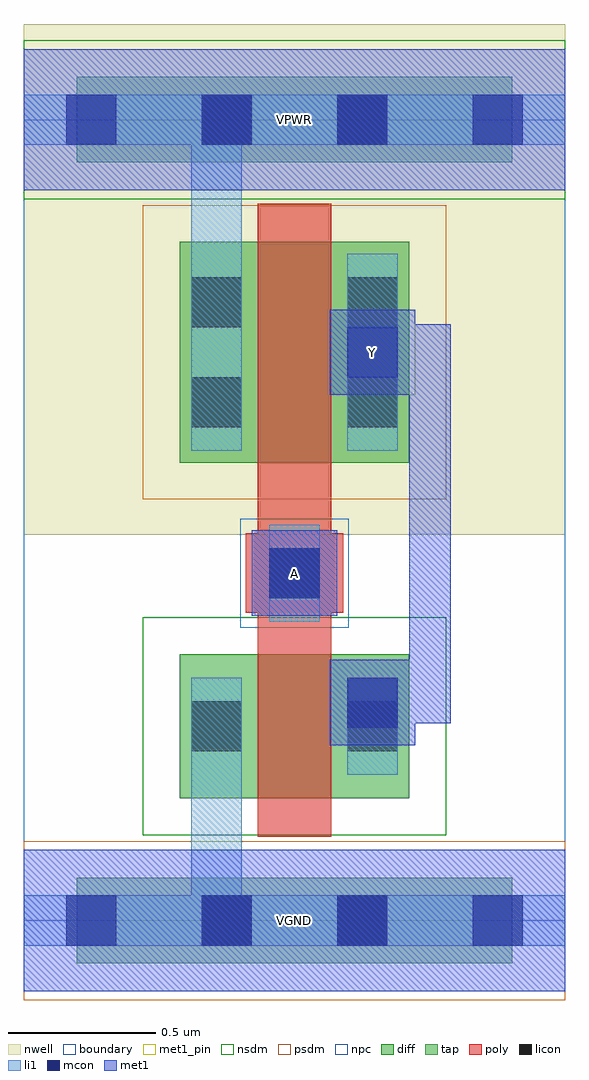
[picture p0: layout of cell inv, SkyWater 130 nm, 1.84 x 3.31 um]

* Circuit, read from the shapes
.subckt inv A VGND VPWR Y
XM1 Y A VGND VGND sky130_fd_pr__nfet_01v8 w=0.49 l=0.25
XM2 Y A VPWR VPWR sky130_fd_pr__pfet_01v8 w=0.75 l=0.25
.ends

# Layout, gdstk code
import gdstk
lib = gdstk.Library(unit=1e-6, precision=1e-09)
def R(c, l, rs):  # rectangles x0, y0, x1, y1
    for r in rs: c.add(gdstk.rectangle(r[:2], r[2:], *l))
def A(c, l, x, y, w, h, nx, ny, dx, dy):  # array of equal rectangles
    R(c, l, [(x+i*dx, y+j*dy, x+i*dx+w, y+j*dy+h) for i in range(nx) for j in range(ny)])
nwell = (64, 20)
diff = (65, 20)
tap = (65, 44)
poly = (66, 20)
licon = (66, 44)
li1 = (67, 20)
mcon = (67, 44)
met1_pin = (68, 16)
met1 = (68, 20)
nsdm = (93, 44)
psdm = (94, 20)
npc = (95, 20)
boundary = (235, 4)

inv = lib.new_cell('inv')
R(inv, nwell, [(0,1.31,1.84,3.045)])
R(inv, diff, [(0.53,0.415,1.31,0.905), (0.53,1.555,1.31,2.305)])
R(inv, tap, [(0.18,-0.145,1.66,0.145), (0.18,2.575,1.66,2.865)])
R(inv, poly, [(0.795,0.285,1.045,2.435), (0.755,1.045,1.085,1.315)])
R(inv, licon, [(0.605,-0.085,0.775,0.085), (1.065,-0.085,1.235,0.085), (0.57,0.575,0.74,0.745), (1.1,0.575,1.27,0.745), (0.835,1.095,1.005,1.265), (0.57,1.675,0.74,1.845), (1.1,1.675,1.27,1.845), (0.57,2.015,0.74,2.185), (1.1,2.015,1.27,2.185), (0.605,2.635,0.775,2.805), (1.065,2.635,1.235,2.805)])
R(inv, li1, [(0,-0.085,1.84,0.085), (0.57,-0.085,0.74,0.825), (0.57,0.495,0.74,0.825), (1.1,0.495,1.27,0.825), (0.835,1.015,1.005,1.345), (0.57,1.595,0.74,2.265), (0.57,1.595,0.74,2.805), (1.1,1.595,1.27,2.265), (0,2.635,1.84,2.805)])
A(inv, mcon, 0.145, -0.085, 0.17, 0.17, 4, 2, 0.46, 2.72)
R(inv, mcon, [(1.1,0.655,1.27,0.825), (0.835,1.095,1.005,1.265), (1.1,1.845,1.27,2.015)])
R(inv, met1_pin, [(0,-0.24,1.84,0.24), (0.775,1.035,1.065,1.325), (1.04,1.785,1.33,2.075), (0,2.48,1.84,2.96)])
R(inv, met1, [(0,-0.24,1.84,0.24), (1.04,0.595,1.33,0.885), (1.115,0.67,1.45,0.81), (1.31,0.67,1.45,0.99), (1.31,0.85,1.45,2.025), (0.775,1.035,1.065,1.325), (1.04,1.785,1.33,2.075), (1.08,1.885,1.22,2.025), (1.08,1.885,1.45,2.025), (0,2.48,1.84,2.96)])
R(inv, nsdm, [(0.405,0.29,1.435,1.03), (0,2.45,1.84,2.99)])
R(inv, psdm, [(0,-0.27,1.84,0.27), (0.405,1.43,1.435,2.43)])
R(inv, npc, [(0.735,0.995,1.105,1.365)])
R(inv, boundary, [(0,0,1.84,2.72)])
inv.add(gdstk.Label('A', (0.92,1.18), layer=68, texttype=5))
inv.add(gdstk.Label('Y', (1.185,1.93), layer=68, texttype=5))
inv.add(gdstk.Label('VPWR', (0.92,2.72), layer=68, texttype=5))
inv.add(gdstk.Label('VGND', (0.92,0), layer=68, texttype=5))
inv.add(gdstk.Label('A', (0.92,1.18), layer=68, texttype=16))
inv.add(gdstk.Label('Y', (1.185,1.93), layer=68, texttype=16))
inv.add(gdstk.Label('VPWR', (0.92,2.72), layer=68, texttype=16))
inv.add(gdstk.Label('VGND', (0.92,0), layer=68, texttype=16))

lib.write_gds('inv.gds')
